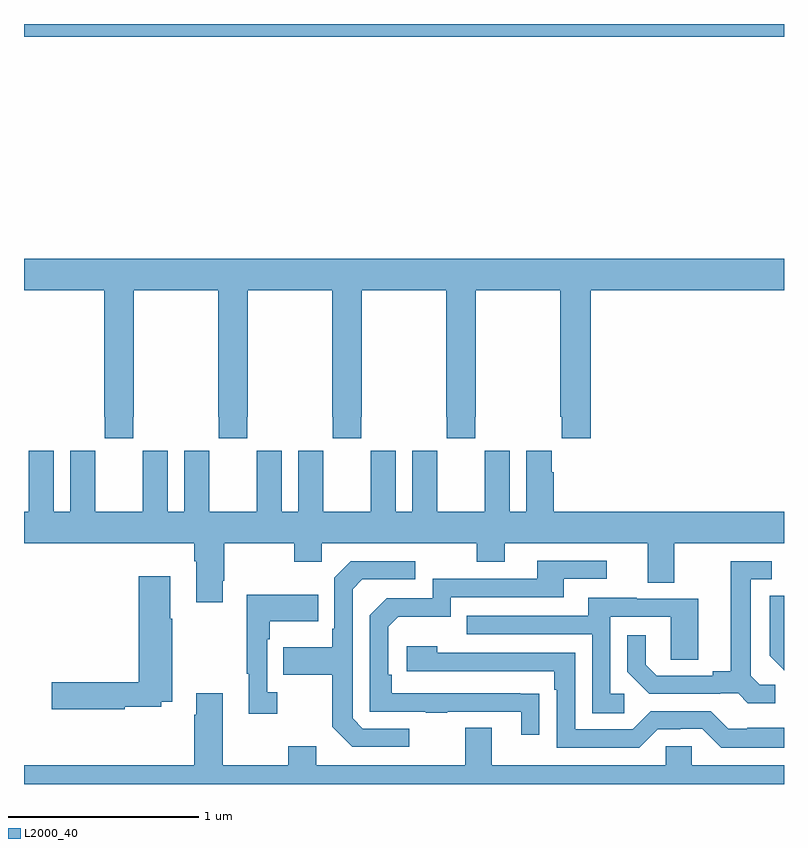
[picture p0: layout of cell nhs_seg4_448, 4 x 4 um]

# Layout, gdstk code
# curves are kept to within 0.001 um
import gdstk
lib = gdstk.Library(unit=1e-6, precision=1e-09)
def R(c, l, rs):  # rectangles x0, y0, x1, y1
    for r in rs: c.add(gdstk.rectangle(r[:2], r[2:], *l))
def P(c, l, *ps):  # polygons
    for p in ps: c.add(gdstk.Polygon(p, *l))
L2000_40 = (2000, 40)

nhs_seg4_448 = lib.new_cell('nhs_seg4_448')
R(nhs_seg4_448, L2000_40, [(133,784.832,137,784.9)])
P(nhs_seg4_448, L2000_40, [(133.575,782.833),(133.578,782.833),(133.578,783.5),(134.023,783.5),(134.023,782.833),(134.025,782.833),(134.025,782.721),(134.175,782.721),(134.175,782.833),(134.178,782.833),(134.178,783.5),(134.623,783.5),(134.623,782.833),(134.625,782.833),(134.625,782.721),(134.775,782.721),(134.775,782.833),(134.778,782.833),(134.778,783.5),(135.223,783.5),(135.223,782.833),(135.225,782.833),(135.225,782.721),(135.375,782.721),(135.375,782.833),(135.378,782.833),(135.378,783.5),(135.823,783.5),(135.823,782.833),(135.829,782.833),(135.829,782.721),(135.983,782.721),(135.983,783.5),(137,783.5),(137,783.664),(133,783.664),(133,783.5),(133.423,783.5),(133.423,782.833),(133.425,782.833),(133.425,782.721),(133.575,782.721)],
  [(133.374,782.54),(133.374,782.653),(133.244,782.653),(133.244,782.332),(133.156,782.332),(133.156,782.653),(133.026,782.653),(133.026,782.54),(133.025,782.54),(133.025,782.332),(133,782.332),(133,782.168),(133.895,782.168),(133.895,782.072),(133.907,782.072),(133.907,781.857),(134.047,781.857),(134.047,781.969),(134.055,781.969),(134.055,782.168),(134.422,782.168),(134.422,782.069),(134.568,782.069),(134.568,782.168),(135.382,782.168),(135.382,782.069),(135.529,782.069),(135.529,782.168),(136.283,782.168),(136.283,781.96),(136.423,781.96),(136.423,782.168),(137,782.168),(137,782.332),(135.788,782.332),(135.788,782.54),(135.778,782.54),(135.778,782.653),(135.644,782.653),(135.644,782.332),(135.556,782.332),(135.556,782.653),(135.426,782.653),(135.426,782.54),(135.425,782.54),(135.425,782.332),(135.175,782.332),(135.175,782.54),(135.174,782.54),(135.174,782.653),(135.044,782.653),(135.044,782.332),(134.956,782.332),(134.956,782.653),(134.826,782.653),(134.826,782.54),(134.825,782.54),(134.825,782.332),(134.575,782.332),(134.575,782.54),(134.574,782.54),(134.574,782.653),(134.444,782.653),(134.444,782.332),(134.356,782.332),(134.356,782.653),(134.226,782.653),(134.226,782.54),(134.225,782.54),(134.225,782.332),(133.975,782.332),(133.975,782.54),(133.974,782.54),(133.974,782.653),(133.844,782.653),(133.844,782.332),(133.756,782.332),(133.756,782.653),(133.626,782.653),(133.626,782.54),(133.625,782.54),(133.625,782.332),(133.375,782.332),(133.375,782.54)],
  [(135.713,781.376),(134.936,781.377),(134.936,781.474),(134.916,781.474),(134.916,781.728),(134.969,781.781),(135.246,781.781),(135.246,781.884),(135.841,781.884),(135.841,781.98),(136.066,781.98),(136.066,782.076),(135.701,782.076),(135.701,781.98),(135.15,781.98),(135.15,781.878),(134.91,781.878),(134.82,781.788),(134.82,781.281),(135.115,781.281),(135.115,781.276),(135.227,781.276),(135.227,781.281),(135.617,781.281),(135.617,781.158),(135.713,781.158)],
  [(136.954,781.422),(136.872,781.422),(136.825,781.469),(136.825,781.977),(136.936,781.977),(136.936,782.073),(136.721,782.073),(136.721,781.493),(136.625,781.493),(136.625,781.47),(136.33,781.47),(136.273,781.527),(136.273,781.684),(136.176,781.684),(136.176,781.49),(136.292,781.374),(136.664,781.374),(136.664,781.377),(136.758,781.377),(136.81,781.325),(136.954,781.325)],
  [(135.028,781.191),(134.784,781.191),(134.73,781.245),(134.73,781.926),(134.781,781.977),(135.058,781.977),(135.058,782.073),(134.721,782.073),(134.634,781.986),(134.634,781.717),(134.622,781.717),(134.622,781.621),(134.365,781.621),(134.365,781.474),(134.622,781.474),(134.622,781.201),(134.727,781.095),(135.028,781.095)],
  [(133.53,781.306),(133.722,781.306),(133.722,781.334),(133.779,781.334),(133.779,781.769),(133.771,781.769),(133.771,781.993),(133.604,781.993),(133.604,781.436),(133.146,781.436),(133.146,781.294),(133.53,781.294)],
  [(134.332,781.382),(134.28,781.382),(134.28,781.661),(134.293,781.661),(134.293,781.757),(134.549,781.757),(134.549,781.897),(134.172,781.897),(134.172,781.481),(134.183,781.481),(134.183,781.269),(134.332,781.269)],
  [(137,781.892),(136.926,781.892),(136.926,781.574),(136.999,781.501),(136.998,781.5),(137,781.498)],
  [(136.159,781.374),(136.086,781.374),(136.086,781.779),(136.404,781.779),(136.404,781.555),(136.549,781.555),(136.549,781.875),(136.225,781.875),(136.225,781.879),(135.971,781.879),(135.971,781.785),(135.331,781.785),(135.331,781.689),(135.99,781.689),(135.99,781.273),(136.159,781.273)],
  [(137,781.195),(136.807,781.195),(136.807,781.191),(136.707,781.191),(136.614,781.284),(136.299,781.284),(136.203,781.188),(135.9,781.188),(135.9,781.59),(135.176,781.59),(135.176,781.624),(135.015,781.624),(135.015,781.494),(135.791,781.494),(135.791,781.397),(135.804,781.397),(135.804,781.092),(136.239,781.092),(136.335,781.188),(136.454,781.188),(136.454,781.191),(136.569,781.191),(136.669,781.091),(137,781.091)],
  [(137,781),(136.515,781),(136.515,781.098),(136.377,781.098),(136.377,781),(135.463,781),(135.463,781.195),(135.323,781.195),(135.323,781),(134.539,781),(134.539,781.099),(134.392,781.099),(134.392,781),(134.047,781),(134.047,781.378),(133.907,781.378),(133.907,781.265),(133.895,781.265),(133.895,781),(133,781),(133,780.9),(137,780.9)])

lib.write_gds('nhs_seg4_448.gds')
